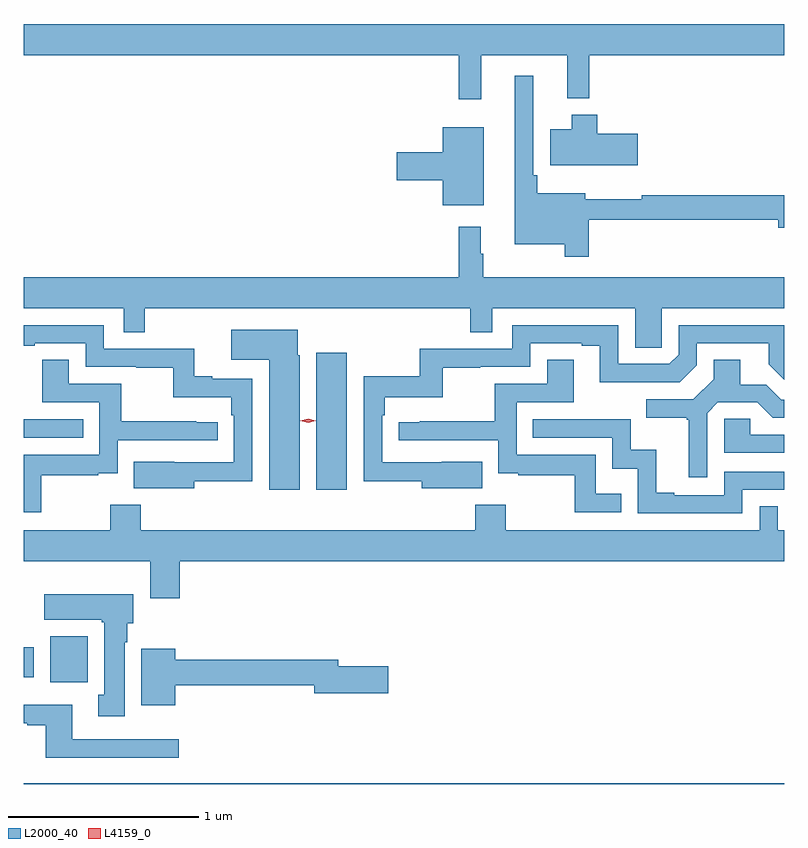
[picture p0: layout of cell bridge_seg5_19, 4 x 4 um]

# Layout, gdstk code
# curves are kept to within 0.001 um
import gdstk
lib = gdstk.Library(unit=1e-6, precision=1e-09)
def R(c, l, rs):  # rectangles x0, y0, x1, y1
    for r in rs: c.add(gdstk.rectangle(r[:2], r[2:], *l))
def P(c, l, *ps):  # polygons
    for p in ps: c.add(gdstk.Polygon(p, *l))
L2000_40 = (2000, 40)
L4159_0 = (4159, 0)

bridge_seg5_19 = lib.new_cell('bridge_seg5_19')
R(bridge_seg5_19, L2000_40, [(1128.407,906.205,1132.407,906.208), (1128.545,906.74,1128.742,906.982), (1128.407,906.768,1128.46,906.924), (1129.946,907.752,1130.107,908.473), (1128.407,908.028,1128.719,908.124)])
P(bridge_seg5_19, L2000_40, [(1130.813,910.04),(1131.266,910.04),(1131.266,909.812),(1131.383,909.812),(1131.383,910.04),(1132.407,910.04),(1132.407,910.204),(1128.407,910.204),(1128.407,910.04),(1130.695,910.04),(1130.695,909.807),(1130.813,909.807)],
  [(1131.38,909.174),(1132.376,909.174),(1132.376,909.131),(1132.407,909.131),(1132.407,909.302),(1131.657,909.302),(1131.657,909.283),(1131.361,909.283),(1131.361,909.313),(1131.107,909.313),(1131.107,909.409),(1131.087,909.409),(1131.087,909.931),(1130.99,909.931),(1130.99,909.044),(1131.252,909.044),(1131.252,908.979),(1131.38,908.979)],
  [(1131.637,909.627),(1131.425,909.627),(1131.425,909.727),(1131.29,909.727),(1131.29,909.649),(1131.176,909.649),(1131.176,909.461),(1131.637,909.461)],
  [(1130.827,909.661),(1130.612,909.661),(1130.612,909.53),(1130.37,909.53),(1130.37,909.383),(1130.612,909.383),(1130.612,909.251),(1130.827,909.251)],
  [(1131.762,908.708),(1132.407,908.708),(1132.407,908.872),(1130.824,908.872),(1130.824,908.996),(1130.812,908.996),(1130.812,909.136),(1130.695,909.136),(1130.695,908.872),(1128.407,908.872),(1128.407,908.708),(1128.933,908.708),(1128.933,908.581),(1129.042,908.581),(1129.042,908.708),(1130.755,908.708),(1130.755,908.581),(1130.871,908.581),(1130.871,908.708),(1131.623,908.708),(1131.623,908.5),(1131.762,908.5)],
  [(1130.819,907.9),(1130.292,907.899),(1130.292,908.144),(1130.306,908.144),(1130.306,908.24),(1130.611,908.24),(1130.611,908.395),(1130.807,908.395),(1130.807,908.4),(1131.072,908.4),(1131.072,908.523),(1131.341,908.523),(1131.341,908.511),(1131.437,908.511),(1131.437,908.318),(1131.858,908.319),(1131.948,908.409),(1131.948,908.523),(1132.325,908.523),(1132.325,908.413),(1132.407,908.331),(1132.407,908.619),(1131.852,908.619),(1131.852,908.463),(1131.804,908.415),(1131.534,908.415),(1131.534,908.619),(1130.976,908.619),(1130.976,908.496),(1130.49,908.496),(1130.49,908.35),(1130.196,908.35),(1130.196,907.798),(1130.501,907.798),(1130.501,907.76),(1130.819,907.76)],
  [(1129.303,907.798),(1129.608,907.798),(1129.608,908.337),(1129.399,908.337),(1129.399,908.35),(1129.304,908.35),(1129.304,908.496),(1128.828,908.496),(1128.828,908.619),(1128.407,908.619),(1128.407,908.511),(1128.463,908.511),(1128.463,908.523),(1128.732,908.523),(1128.732,908.4),(1128.997,908.4),(1128.997,908.395),(1129.194,908.395),(1129.194,908.24),(1129.499,908.24),(1129.499,908.144),(1129.512,908.144),(1129.512,907.899),(1129.199,907.899),(1129.199,907.9),(1128.985,907.9),(1128.985,907.76),(1129.303,907.76)],
  [(1129.858,908.46),(1129.849,908.46),(1129.849,908.596),(1129.497,908.596),(1129.497,908.438),(1129.697,908.438),(1129.697,907.752),(1129.858,907.752)],
  [(1128.499,907.83),(1128.797,907.83),(1128.797,907.841),(1128.9,907.841),(1128.9,908.013),(1129.426,908.013),(1129.426,908.109),(1129.313,908.109),(1129.313,908.114),(1128.92,908.114),(1128.92,908.31),(1128.643,908.31),(1128.643,908.438),(1128.503,908.438),(1128.503,908.214),(1128.804,908.214),(1128.804,907.938),(1128.407,907.938),(1128.407,907.635),(1128.499,907.635)],
  [(1131.551,907.732),(1131.417,907.732),(1131.417,907.938),(1131,907.938),(1131,908.214),(1131.301,908.214),(1131.301,908.438),(1131.161,908.438),(1131.161,908.31),(1130.884,908.31),(1130.884,908.114),(1130.491,908.114),(1130.491,908.109),(1130.379,908.109),(1130.379,908.013),(1130.904,908.013),(1130.904,907.841),(1131.007,907.841),(1131.007,907.83),(1131.306,907.83),(1131.306,907.635),(1131.551,907.635)],
  [(1132.002,908.157),(1132.059,908.214),(1132.265,908.214),(1132.346,908.133),(1132.407,908.133),(1132.407,908.226),(1132.392,908.226),(1132.312,908.306),(1132.177,908.306),(1132.177,908.438),(1132.037,908.438),(1132.037,908.336),(1131.93,908.229),(1131.681,908.229),(1131.681,908.132),(1131.894,908.132),(1131.894,908.121),(1131.905,908.121),(1131.905,907.818),(1132.002,907.818)],
  [(1132.407,908.043),(1132.229,908.043),(1132.229,908.127),(1132.092,908.127),(1132.092,907.947),(1132.407,907.947)],
  [(1132.188,907.752),(1132.407,907.752),(1132.407,907.848),(1132.092,907.848),(1132.092,907.725),(1131.829,907.725),(1131.829,907.738),(1131.733,907.738),(1131.733,907.963),(1131.6,907.963),(1131.6,908.124),(1131.085,908.124),(1131.085,908.028),(1131.504,908.028),(1131.504,907.865),(1131.636,907.865),(1131.636,907.629),(1132.188,907.629)],
  [(1129.226,907.376),(1132.407,907.376),(1132.407,907.54),(1132.374,907.54),(1132.374,907.667),(1132.278,907.667),(1132.278,907.54),(1130.943,907.54),(1130.943,907.675),(1130.783,907.675),(1130.783,907.54),(1129.022,907.54),(1129.022,907.675),(1128.862,907.675),(1128.862,907.54),(1128.407,907.54),(1128.407,907.376),(1129.073,907.376),(1129.073,907.182),(1129.226,907.182)],
  [(1128.937,906.95),(1128.952,906.95),(1128.952,907.05),(1128.982,907.05),(1128.982,907.204),(1128.513,907.204),(1128.513,907.07),(1128.817,907.07),(1128.817,907.057),(1128.83,907.057),(1128.83,906.674),(1128.797,906.674),(1128.797,906.561),(1128.937,906.561)],
  [(1129.204,906.724),(1129.934,906.724),(1129.934,906.682),(1130.323,906.682),(1130.323,906.824),(1130.062,906.824),(1130.062,906.86),(1129.204,906.86),(1129.204,906.916),(1129.025,906.916),(1129.025,906.62),(1129.204,906.62)],
  [(1129.222,906.441),(1128.661,906.441),(1128.661,906.622),(1128.407,906.622),(1128.407,906.525),(1128.425,906.525),(1128.425,906.513),(1128.521,906.513),(1128.521,906.344),(1129.222,906.344)])
P(bridge_seg5_19, L4159_0, [(1129.902,908.107),(1129.862,908.117),(1129.861,908.117),(1129.862,908.117),(1129.902,908.127),(1129.942,908.117),(1129.942,908.117),(1129.942,908.117)])

lib.write_gds('bridge_seg5_19.gds')
